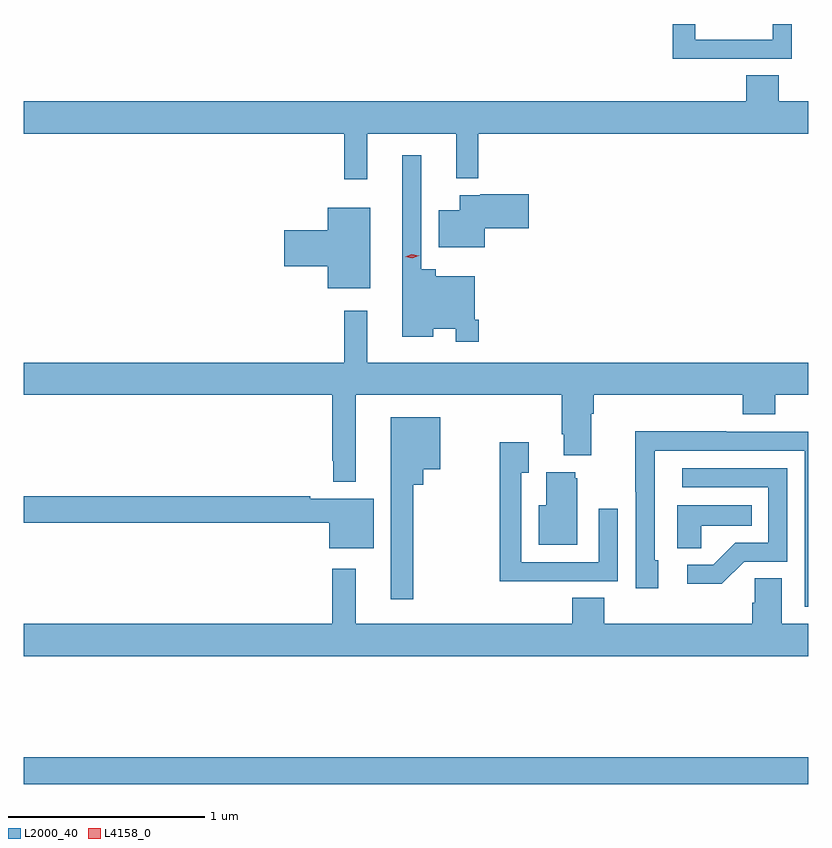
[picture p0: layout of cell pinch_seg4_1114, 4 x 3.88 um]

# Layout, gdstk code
import gdstk
lib = gdstk.Library(unit=1e-6, precision=1e-09)
def R(c, l, rs):  # rectangles x0, y0, x1, y1
    for r in rs: c.add(gdstk.rectangle(r[:2], r[2:], *l))
def P(c, l, *ps):  # polygons
    for p in ps: c.add(gdstk.Polygon(p, *l))
L2000_40 = (2000, 40)
L4158_0 = (4158, 0)

pinch_seg4_1114 = lib.new_cell('pinch_seg4_1114')
R(pinch_seg4_1114, L2000_40, [(492.809,813.484,496.809,813.62)])
P(pinch_seg4_1114, L2000_40, [(496.409,817.182),(496.725,817.182),(496.725,817.359),(496.629,817.359),(496.629,817.278),(496.233,817.278),(496.233,817.359),(496.117,817.359),(496.117,817.181),(496.409,817.181)],
  [(494.561,816.8),(495.014,816.8),(495.014,816.572),(495.126,816.572),(495.126,816.8),(496.809,816.8),(496.809,816.964),(496.658,816.964),(496.658,817.097),(496.493,817.097),(496.493,816.964),(492.809,816.964),(492.809,816.8),(494.443,816.8),(494.443,816.567),(494.561,816.567)],
  [(495.128,815.851),(495.108,815.851),(495.108,816.073),(494.909,816.073),(494.909,816.109),(494.835,816.109),(494.835,816.691),(494.738,816.691),(494.738,815.765),(494.896,815.765),(494.896,815.804),(495.012,815.804),(495.012,815.739),(495.128,815.739)],
  [(495.16,816.317),(495.385,816.317),(495.385,816.492),(495.136,816.492),(495.136,816.487),(495.032,816.487),(495.032,816.409),(494.924,816.409),(494.924,816.221),(495.16,816.221)],
  [(494.575,816.421),(494.36,816.421),(494.36,816.308),(494.136,816.308),(494.136,816.125),(494.36,816.125),(494.36,816.011),(494.575,816.011)],
  [(494.56,815.896),(494.443,815.896),(494.443,815.632),(492.809,815.632),(492.809,815.468),(494.382,815.468),(494.382,815.131),(494.388,815.131),(494.388,815.024),(494.503,815.024),(494.503,815.468),(495.551,815.468),(495.551,815.266),(495.563,815.266),(495.563,815.159),(495.703,815.159),(495.703,815.372),(495.716,815.372),(495.716,815.468),(496.475,815.468),(496.475,815.369),(496.64,815.369),(496.64,815.468),(496.809,815.468),(496.809,815.632),(494.56,815.632)],
  [(494.795,815.009),(494.847,815.009),(494.847,815.09),(494.932,815.09),(494.932,815.353),(494.681,815.353),(494.681,814.425),(494.795,814.425)],
  [(496.809,815.28),(496.391,815.28),(496.391,815.282),(495.928,815.282),(495.928,814.975),(495.93,814.975),(495.93,814.482),(496.045,814.482),(496.045,814.626),(496.026,814.626),(496.026,815.184),(496.791,815.184),(496.791,814.389),(496.809,814.389)],
  [(495.521,814.518),(495.837,814.518),(495.837,814.888),(495.741,814.888),(495.741,814.614),(495.345,814.614),(495.345,815.071),(495.385,815.071),(495.385,815.227),(495.237,815.227),(495.237,814.517),(495.521,814.517)],
  [(496.482,814.617),(496.701,814.617),(496.701,815.094),(496.167,815.094),(496.167,814.998),(496.605,814.998),(496.605,814.713),(496.436,814.713),(496.325,814.602),(496.191,814.602),(496.191,814.505),(496.369,814.505)],
  [(495.631,815.043),(495.62,815.043),(495.62,815.074),(495.473,815.074),(495.473,814.906),(495.434,814.906),(495.434,814.703),(495.631,814.703)],
  [(494.593,814.939),(494.27,814.939),(494.27,814.952),(492.809,814.952),(492.809,814.816),(494.366,814.816),(494.366,814.685),(494.593,814.685)],
  [(496.263,814.802),(496.52,814.802),(496.52,814.906),(496.142,814.906),(496.142,814.687),(496.263,814.687)],
  [(496.809,814.3),(496.675,814.3),(496.675,814.532),(496.536,814.532),(496.536,814.409),(496.523,814.409),(496.523,814.3),(495.77,814.3),(495.77,814.433),(495.605,814.433),(495.605,814.3),(494.503,814.3),(494.503,814.582),(494.382,814.582),(494.382,814.3),(492.809,814.3),(492.809,814.136),(496.809,814.136)])
P(pinch_seg4_1114, L4158_0, [(494.79,816.164),(494.754,816.172),(494.753,816.172),(494.754,816.172),(494.788,816.184),(494.824,816.177),(494.825,816.177),(494.824,816.177)])

lib.write_gds('pinch_seg4_1114.gds')
